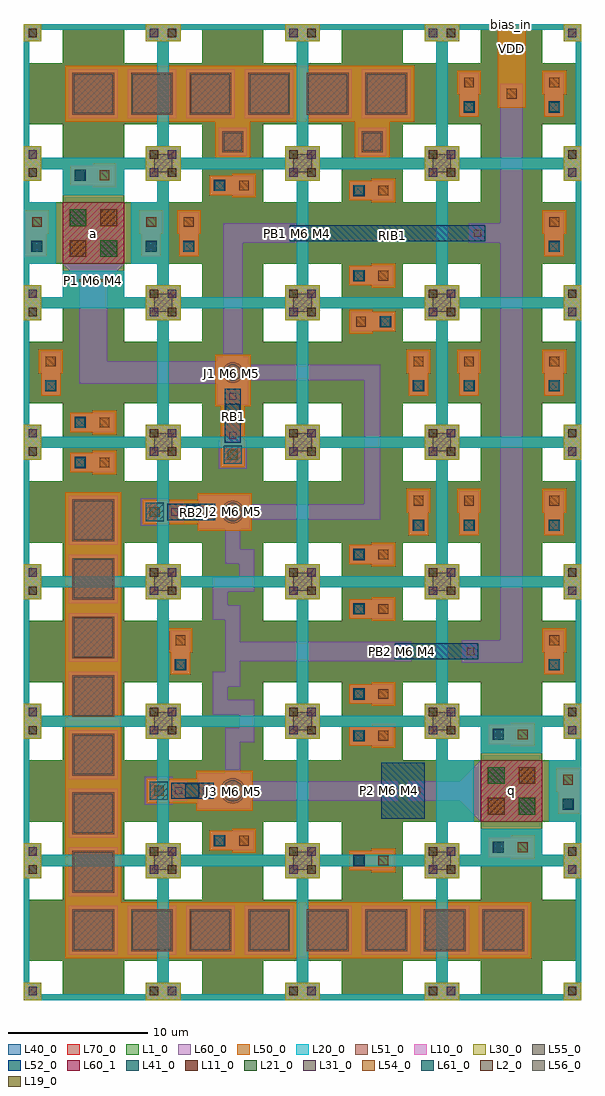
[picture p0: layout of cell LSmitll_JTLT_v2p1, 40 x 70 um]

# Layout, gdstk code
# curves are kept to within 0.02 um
from math import pi, radians
import gdstk
lib = gdstk.Library(unit=1e-6, precision=1e-09)
def R(c, l, rs):  # rectangles x0, y0, x1, y1
    for r in rs: c.add(gdstk.rectangle(r[:2], r[2:], *l))
def A(c, l, x, y, w, h, nx, ny, dx, dy):  # array of equal rectangles
    R(c, l, [(x+i*dx, y+j*dy, x+i*dx+w, y+j*dy+h) for i in range(nx) for j in range(ny)])
def P(c, l, *ps):  # polygons
    for p in ps: c.add(gdstk.Polygon(p, *l))
L1_0 = (1, 0)
L2_0 = (2, 0)
L10_0 = (10, 0)
L11_0 = (11, 0)
L19_0 = (19, 0)
L20_0 = (20, 0)
L21_0 = (21, 0)
L30_0 = (30, 0)
L31_0 = (31, 0)
L40_0 = (40, 0)
L41_0 = (41, 0)
L50_0 = (50, 0)
L51_0 = (51, 0)
L52_0 = (52, 0)
L54_0 = (54, 0)
L55_0 = (55, 0)
L56_0 = (56, 0)
L60_0 = (60, 0)
L60_1 = (60, 1)
L61_0 = (61, 0)
L70_0 = (70, 0)

ls_fakejj_1p5x1p5um = lib.new_cell('ls_FakeJJ_1p5x1p5um')
R(ls_fakejj_1p5x1p5um, L40_0, [(-1.25,-1.25,1.25,1.25)])
R(ls_fakejj_1p5x1p5um, L50_0, [(-1.25,-1.25,1.25,1.25)])
R(ls_fakejj_1p5x1p5um, L51_0, [(-0.75,-0.75,0.75,0.75)])
R(ls_fakejj_1p5x1p5um, L55_0, [(-0.65,-0.65,0.65,0.65)])
R(ls_fakejj_1p5x1p5um, L60_0, [(-1,-1,1,1)])

ls_fakejj_3x3um = lib.new_cell('ls_FakeJJ_3x3um')
R(ls_fakejj_3x3um, L40_0, [(-2,-2,2,2)])
R(ls_fakejj_3x3um, L50_0, [(-2,-2,2,2)])
R(ls_fakejj_3x3um, L51_0, [(-1.5,-1.5,1.5,1.5)])
R(ls_fakejj_3x3um, L55_0, [(-1.4,-1.4,1.4,1.4)])
R(ls_fakejj_3x3um, L60_0, [(-1.75,-1.75,1.75,1.75)])

ls_ib_112 = lib.new_cell('ls_ib_112')
R(ls_ib_112, L52_0, [(-0.575,0,0.575,14)])
R(ls_ib_112, L56_0, [(-0.26,0.29,0.26,0.81), (-0.26,13.21,0.26,13.73)])
R(ls_ib_112, L60_0, [(-0.625,-0.1,0.625,1.175), (-0.625,12.825,0.625,14.1)])

ls_conn_m5m6m7 = lib.new_cell('ls_conn_M5M6M7')
R(ls_conn_m5m6m7, L50_0, [(-0.5,-0.5,1.2,1.2)])
R(ls_conn_m5m6m7, L54_0, [(0,0,0.7,0.7)])
R(ls_conn_m5m6m7, L60_0, [(-0.65,-0.65,1.35,1.35)])
R(ls_conn_m5m6m7, L61_0, [(-0.3,-0.3,1,1)])
R(ls_conn_m5m6m7, L70_0, [(-0.65,-0.65,1.35,1.35)])

ls_jj_200_sg = lib.new_cell('ls_jj_200_sg')
R(ls_jj_200_sg, L41_0, [(-0.5,2.325,0.5,3.325)])
R(ls_jj_200_sg, L50_0, [(-1.35,-1.35,1.35,2.525), (-0.875,2.525,0.875,6.45)])
P(ls_jj_200_sg, L51_0, [(0,-0.815),(-0.315,-0.755),(-0.58,-0.575),(-0.755,-0.31),(-0.815,0),(-0.755,0.315),(-0.58,0.58),(-0.315,0.76),(0,0.82),(0.315,0.76),(0.58,0.58),(0.755,0.315),(0.815,0),(0.755,-0.31),(0.58,-0.575),(0.315,-0.755)])
R(ls_jj_200_sg, L52_0, [(-0.575,1.275,0.575,4.7)])
P(ls_jj_200_sg, L55_0, [(0,-0.67),(-0.27,-0.62),(-0.37,-0.56),(-0.57,-0.37),(-0.67,-0.13),(-0.67,0.13),(-0.57,0.37),(-0.27,0.61),(0,0.67),(0.27,0.61),(0.47,0.47),(0.57,0.37),(0.67,0.13),(0.67,-0.13),(0.57,-0.37),(0.27,-0.62)])
R(ls_jj_200_sg, L56_0, [(-0.26,1.54,0.26,2.06), (-0.26,3.91,0.26,4.43)])
R(ls_jj_200_sg, L60_0, [(-1.2,-1.2,1.2,2.425), (-0.725,3.525,0.725,6.3)])
ls_jj_200_sg.add(gdstk.Reference(ls_conn_m5m6m7, (-0.35,5.25)))

ls_tr_m7 = lib.new_cell('ls_tr_M7')
P(ls_tr_m7, L70_0, [(0,0),(0,10),(1.25,10),(1.25,8.75),(0.4,8.75),(0.4,1.25),(1.25,1.25),(1.25,0.4),(2.8,0.4),(2.8,2.8),(0.4,2.8),(0.4,7.2),(2.8,7.2),(2.8,9.6),(1.25,9.6),(1.25,10),(7.2,10),(7.2,0.4),(8.75,0.4),(8.75,1.25),(9.6,1.25),(9.6,2.8),(7.2,2.8),(7.2,7.2),(9.6,7.2),(9.6,8.75),(8.75,8.75),(8.75,9.6),(7.2,9.6),(7.2,10),(10,10),(10,0)])

ls_tr_u_m4 = lib.new_cell('ls_tr_u_M4')
P(ls_tr_u_m4, L1_0, [(0,0),(0,10),(1.25,10),(1.25,8.75),(0.4,8.75),(0.4,1.25),(1.25,1.25),(1.25,0.4),(2.8,0.4),(2.8,2.8),(0.4,2.8),(0.4,7.2),(2.8,7.2),(2.8,9.6),(1.25,9.6),(1.25,10),(7.2,10),(7.2,0.4),(8.75,0.4),(8.75,1.25),(9.6,1.25),(9.6,2.8),(7.2,2.8),(7.2,7.2),(9.6,7.2),(9.6,8.75),(8.75,8.75),(8.75,9.6),(7.2,9.6),(7.2,10),(10,10),(10,0)])
R(ls_tr_u_m4, L2_0, [(9.05,0.35,9.65,0.95), (0.35,9.05,0.95,9.65)])
R(ls_tr_u_m4, L10_0, [(0,0,1.25,1.25), (8.75,0,10,1.25), (0,8.75,1.25,10), (8.75,8.75,10,10)])
R(ls_tr_u_m4, L11_0, [(0.35,0.35,0.95,0.95), (9.05,9.05,9.65,9.65)])
P(ls_tr_u_m4, L20_0, [(0,0),(0,10),(1.25,10),(1.25,8.75),(0.4,8.75),(0.4,1.25),(1.25,1.25),(1.25,0.4),(8.75,0.4),(8.75,1.25),(9.6,1.25),(9.6,8.75),(8.75,8.75),(8.75,9.6),(1.25,9.6),(1.25,10),(10,10),(10,0)])
R(ls_tr_u_m4, L21_0, [(9.05,0.35,9.65,0.95), (0.35,9.05,0.95,9.65)])
R(ls_tr_u_m4, L30_0, [(0,0,1.25,1.25), (8.75,0,10,1.25), (0,8.75,1.25,10), (8.75,8.75,10,10)])
R(ls_tr_u_m4, L31_0, [(0.35,0.35,0.95,0.95), (9.05,9.05,9.65,9.65)])
P(ls_tr_u_m4, L40_0, [(0,0),(0,10),(1.25,10),(1.25,8.75),(0.4,8.75),(0.4,1.25),(1.25,1.25),(1.25,0.4),(2.8,0.4),(2.8,2.8),(0.4,2.8),(0.4,7.2),(2.8,7.2),(2.8,9.6),(1.25,9.6),(1.25,10),(7.2,10),(7.2,0.4),(8.75,0.4),(8.75,1.25),(9.6,1.25),(9.6,2.8),(7.2,2.8),(7.2,7.2),(9.6,7.2),(9.6,8.75),(8.75,8.75),(8.75,9.6),(7.2,9.6),(7.2,10),(10,10),(10,0)])
ls_tr_u_m4.add(gdstk.Reference(ls_tr_m7, (0,0)))

ls_conn_m4m5m6m7 = lib.new_cell('ls_conn_M4M5M6M7')
R(ls_conn_m4m5m6m7, L40_0, [(0,0,1.4,1.4)])
R(ls_conn_m4m5m6m7, L41_0, [(0.3,0.3,1.1,1.1)])
P(ls_conn_m4m5m6m7, L50_0, [(1.6,-0.15),(1.6,0),(0,0),(0,1.4),(1.6,1.4),(1.6,1.55),(3.3,1.55),(3.3,-0.15)])
R(ls_conn_m4m5m6m7, L54_0, [(2.1,0.35,2.8,1.05)])
R(ls_conn_m4m5m6m7, L60_0, [(0,0,3.15,1.4)])
R(ls_conn_m4m5m6m7, L61_0, [(0.35,0.35,1.05,1.05)])
R(ls_conn_m4m5m6m7, L70_0, [(0,0,1.4,1.4)])

ls_conn_m5m6 = lib.new_cell('ls_conn_M5M6')
R(ls_conn_m5m6, L50_0, [(0,0,1.7,1.7)])
R(ls_conn_m5m6, L54_0, [(0.5,0.5,1.2,1.2)])
R(ls_conn_m5m6, L60_0, [(0.15,0.15,1.55,1.55)])

ls_tr_ptl_conn = lib.new_cell('ls_tr_PTL_conn')
P(ls_tr_ptl_conn, L1_0, [(0,0),(0,10),(1.25,10),(1.25,8.75),(0.4,8.75),(0.4,1.25),(1.25,1.25),(1.25,0.4),(2.8,0.4),(2.8,2.8),(0.4,2.8),(0.4,7.2),(2.8,7.2),(2.8,9.6),(1.25,9.6),(1.25,10),(7.2,10),(7.2,0.4),(8.75,0.4),(8.75,1.25),(9.6,1.25),(9.6,2.8),(7.2,2.8),(7.2,7.2),(9.6,7.2),(9.6,8.75),(8.75,8.75),(8.75,9.6),(7.2,9.6),(7.2,10),(10,10),(10,0)])
R(ls_tr_ptl_conn, L2_0, [(9.05,0.35,9.65,0.95), (0.35,9.05,0.95,9.65)])
R(ls_tr_ptl_conn, L10_0, [(0,0,1.25,1.25), (8.75,0,10,1.25), (2.8,2.8,7.2,7.2), (0,8.75,1.25,10), (8.75,8.75,10,10)])
R(ls_tr_ptl_conn, L11_0, [(0.35,0.35,0.95,0.95), (3.3,3.3,4.5,4.5), (5.5,5.5,6.7,6.7), (9.05,9.05,9.65,9.65)])
R(ls_tr_ptl_conn, L20_0, [(2.8,2.8,7.2,7.2)])
P(ls_tr_ptl_conn, L20_0, [(0,0),(0,10),(7.2,10),(7.2,7.7),(2.8,7.7),(2.8,9.6),(1.25,9.6),(1.25,8.75),(0.4,8.75),(0.4,7.2),(2.3,7.2),(2.3,2.8),(0.4,2.8),(0.4,1.25),(1.25,1.25),(1.25,0.4),(2.8,0.4),(2.8,2.3),(7.2,2.3),(7.2,0.4),(8.75,0.4),(8.75,1.25),(9.6,1.25),(9.6,2.8),(7.7,2.8),(7.7,7.2),(9.6,7.2),(9.6,8.75),(8.75,8.75),(8.75,9.6),(7.2,9.6),(7.2,10),(10,10),(10,0)])
R(ls_tr_ptl_conn, L21_0, [(9.05,0.35,9.65,0.95), (5.5,3.3,6.7,4.5), (3.3,5.5,4.5,6.7), (0.35,9.05,0.95,9.65)])
R(ls_tr_ptl_conn, L30_0, [(0,0,1.25,1.25), (8.75,0,10,1.25), (2.8,2.8,7.2,7.2), (0,8.75,1.25,10), (8.75,8.75,10,10)])
R(ls_tr_ptl_conn, L31_0, [(0.35,0.35,0.95,0.95), (3.3,3.3,4.5,4.5), (5.5,5.5,6.7,6.7), (9.05,9.05,9.65,9.65)])
R(ls_tr_ptl_conn, L40_0, [(2.8,2.8,7.2,7.2)])
P(ls_tr_ptl_conn, L40_0, [(0,0),(0,10),(7.2,10),(7.2,7.7),(2.8,7.7),(2.8,9.6),(1.25,9.6),(1.25,8.75),(0.4,8.75),(0.4,7.2),(2.3,7.2),(2.3,2.8),(0.4,2.8),(0.4,1.25),(1.25,1.25),(1.25,0.4),(2.8,0.4),(2.8,2.3),(7.2,2.3),(7.2,0.4),(8.75,0.4),(8.75,1.25),(9.6,1.25),(9.6,2.8),(7.7,2.8),(7.7,7.2),(9.6,7.2),(9.6,8.75),(8.75,8.75),(8.75,9.6),(7.2,9.6),(7.2,10),(10,10),(10,0)])
R(ls_tr_ptl_conn, L41_0, [(5.5,3.3,6.7,4.5), (3.3,5.5,4.5,6.7)])
R(ls_tr_ptl_conn, L50_0, [(2.8,2.8,7.2,7.2)])
R(ls_tr_ptl_conn, L54_0, [(3.3,3.3,4.5,4.5), (5.5,5.5,6.7,6.7)])
R(ls_tr_ptl_conn, L60_0, [(2.8,2.8,7.2,7.2)])
P(ls_tr_ptl_conn, L70_0, [(0,0),(0,10),(1.25,10),(1.25,8.75),(0.4,8.75),(0.4,1.25),(1.25,1.25),(1.25,0.4),(2.8,0.4),(2.8,2.8),(0.4,2.8),(0.4,7.2),(2.8,7.2),(2.8,9.6),(1.25,9.6),(1.25,10),(7.2,10),(7.2,0.4),(8.75,0.4),(8.75,1.25),(9.6,1.25),(9.6,2.8),(7.2,2.8),(7.2,7.2),(9.6,7.2),(9.6,8.75),(8.75,8.75),(8.75,9.6),(7.2,9.6),(7.2,10),(10,10),(10,0)])

ls_jj_162_sg = lib.new_cell('ls_jj_162_sg')
R(ls_jj_162_sg, L41_0, [(-0.5,2.25,0.5,3.25)])
R(ls_jj_162_sg, L50_0, [(-1.275,-1.275,1.275,2.425), (-0.875,2.425,0.875,6.775)])
P(ls_jj_162_sg, L51_0, [(0,-0.74),(-0.285,-0.685),(-0.52,-0.525),(-0.685,-0.285),(-0.74,0),(-0.685,0.28),(-0.52,0.52),(-0.285,0.68),(0,0.735),(0.285,0.68),(0.52,0.52),(0.685,0.28),(0.74,0),(0.685,-0.285),(0.52,-0.525),(0.285,-0.685)])
R(ls_jj_162_sg, L52_0, [(-0.575,1.175,0.575,5.025)])
R(ls_jj_162_sg, L54_0, [(-0.35,5.55,0.35,6.25)])
P(ls_jj_162_sg, L55_0, [(0,-0.59),(-0.23,-0.55),(-0.42,-0.42),(-0.54,-0.23),(-0.59,0),(-0.54,0.22),(-0.42,0.43),(-0.13,0.58),(0,0.59),(0.13,0.58),(0.42,0.43),(0.54,0.22),(0.59,0),(0.54,-0.23),(0.42,-0.42),(0.23,-0.55)])
R(ls_jj_162_sg, L56_0, [(-0.26,1.44,0.26,1.96), (-0.26,4.23,0.26,4.75)])
R(ls_jj_162_sg, L60_0, [(-1.125,-1.125,1.125,2.325), (-0.725,3.85,0.725,6.625)])
ls_jj_162_sg.add(gdstk.Reference(ls_conn_m5m6m7, (-0.35,5.55)))

ls_jj_250_sg = lib.new_cell('ls_jj_250_sg')
R(ls_jj_250_sg, L41_0, [(-0.5,2.4,0.5,3.4)])
R(ls_jj_250_sg, L50_0, [(-1.425,-1.425,1.425,2.625), (-0.875,2.625,0.875,6.175)])
P(ls_jj_250_sg, L51_0, [(0,-0.91),(-0.18,-0.895),(-0.35,-0.84),(-0.645,-0.645),(-0.84,-0.35),(-0.91,0),(-0.895,0.18),(-0.84,0.35),(-0.645,0.645),(-0.35,0.84),(-0.18,0.895),(0,0.91),(0.18,0.895),(0.35,0.84),(0.645,0.645),(0.84,0.35),(0.895,0.18),(0.91,0),(0.84,-0.35),(0.645,-0.645),(0.35,-0.84),(0.18,-0.895)])
R(ls_jj_250_sg, L52_0, [(-0.575,1.35,0.575,4.425)])
R(ls_jj_250_sg, L54_0, [(-0.35,4.95,0.35,5.65)])
P(ls_jj_250_sg, L55_0, [(0,-0.76),(-0.15,-0.75),(-0.29,-0.7),(-0.54,-0.54),(-0.7,-0.29),(-0.75,-0.15),(-0.76,0),(-0.75,0.15),(-0.7,0.29),(-0.54,0.54),(-0.29,0.7),(-0.15,0.75),(0,0.76),(0.15,0.75),(0.29,0.7),(0.54,0.54),(0.7,0.29),(0.75,0.15),(0.76,0),(0.75,-0.15),(0.7,-0.29),(0.54,-0.54),(0.29,-0.7),(0.15,-0.75)])
R(ls_jj_250_sg, L56_0, [(-0.26,1.64,0.26,2.16), (-0.26,3.63,0.26,4.15)])
R(ls_jj_250_sg, L60_0, [(-1.275,-1.275,1.275,2.525), (-0.725,3.25,0.725,6.025)])
ls_jj_250_sg.add(gdstk.Reference(ls_conn_m5m6m7, (-0.35,4.95)))

ls_ib_315 = lib.new_cell('ls_ib_315')
R(ls_ib_315, L52_0, [(-0.575,0,0.575,5.975)])
R(ls_ib_315, L56_0, [(-0.26,0.29,0.26,0.81), (-0.26,5.17,0.26,5.69)])
R(ls_ib_315, L60_0, [(-0.625,-0.1,0.625,1.175), (-0.625,4.8,0.625,6.075)])

ls_res_1p36 = lib.new_cell('ls_res_1p36')
R(ls_res_1p36, L52_0, [(-2,0,2,3.1)])
R(ls_res_1p36, L56_0, [(-0.26,0.29,0.26,0.81), (-0.26,2.3,0.26,2.82)])
R(ls_res_1p36, L60_0, [(-0.625,-0.1,0.625,1.175), (-0.625,1.925,0.625,3.2)])

lsmitll_jtlt_v2p1 = lib.new_cell('LSmitll_JTLT_v2p1')
R(lsmitll_jtlt_v2p1, L19_0, [(25.93,14.74,26.45,15.26), (26.91,24.74,27.43,25.26), (19.37,54.74,19.89,55.26)])
A(lsmitll_jtlt_v2p1, L50_0, 7, 3, 0.2, 4, 7, 1, 4.2, 0)
A(lsmitll_jtlt_v2p1, L50_0, 3, 7, 4, 0.2, 1, 7, 0, 4.2)
A(lsmitll_jtlt_v2p1, L50_0, 7, 63, 0.2, 4, 5, 1, 4.2, 0)
R(lsmitll_jtlt_v2p1, L50_0, [(39.75,13.35,40,16.65), (0,53.35,0.25,56.65), (13.75,62.8,16.25,63), (23.75,62.8,26.25,63), (34,64,36,70)])
R(lsmitll_jtlt_v2p1, L60_0, [(39.75,13.35,40,16.5), (27.575,14.3,31.3,15.7), (0,53.35,0.25,56.5)])
P(lsmitll_jtlt_v2p1, L60_0, [(32.8,12.8),(31.3,14.3),(31.3,15.7),(32.8,17.2)],
  [(4.3,51.3),(2.8,52.8),(7.2,52.8),(5.7,51.3)])
R(lsmitll_jtlt_v2p1, L60_1, [(32.8,12.8,37.2,17.2), (2.8,52.8,7.2,57.2)])
lsmitll_jtlt_v2p1.add(gdstk.FlexPath([(16.275,15),(26.825,15)], 1.4, ends="flush", simple_path=True, layer=60, datatype=0))  # L60_0
lsmitll_jtlt_v2p1.add(gdstk.FlexPath([(15,25),(27.8,25)], 1.4, ends="flush", simple_path=True, layer=60, datatype=0))  # L60_0
lsmitll_jtlt_v2p1.add(gdstk.FlexPath([(15,33.8),(15,31.8),(16,31.8),(16,29.8),(14.1,29.8),(14.1,27.8),(15,27.8),(15,25)], 1.05, ends="flush", simple_path=True, layer=60, datatype=0))  # L60_0
lsmitll_jtlt_v2p1.add(gdstk.FlexPath([(25.55,35),(16.2,35)], 1.1, ends="flush", simple_path=True, layer=60, datatype=0))  # L60_0
lsmitll_jtlt_v2p1.add(gdstk.FlexPath([(25,45.55),(25,34.45)], 1.15, ends="flush", simple_path=True, layer=60, datatype=0))  # L60_0
lsmitll_jtlt_v2p1.add(gdstk.FlexPath([(16.125,45),(25.55,45)], 1.1, ends="flush", simple_path=True, layer=60, datatype=0))  # L60_0
lsmitll_jtlt_v2p1.add(gdstk.FlexPath([(31.925,55),(34.2,55)], 1.4, ends="flush", simple_path=True, layer=60, datatype=0))  # L60_0
lsmitll_jtlt_v2p1.add(gdstk.FlexPath([(35,65.7),(35,25),(31.425,25)], 1.6, ends="flush", simple_path=True, layer=60, datatype=0))  # L60_0
lsmitll_jtlt_v2p1.add(gdstk.FlexPath([(20.275,55),(15,55),(15,46.125)], 1.4, ends="flush", simple_path=True, layer=60, datatype=0))  # L60_0
lsmitll_jtlt_v2p1.add(gdstk.FlexPath([(4,45),(13.875,45)], 1.6, ends="flush", simple_path=True, layer=60, datatype=0))  # L60_0
lsmitll_jtlt_v2p1.add(gdstk.FlexPath([(5,52.8),(5,44.225)], 2, ends="flush", simple_path=True, layer=60, datatype=0))  # L60_0
lsmitll_jtlt_v2p1.add(gdstk.FlexPath([(15,25),(15,23),(14.1,23),(14.1,21),(16,21),(16,19),(15,19),(15,16.2)], 1.05, ends="flush", simple_path=True, layer=60, datatype=0))  # L60_0
lsmitll_jtlt_v2p1.add(gdstk.FlexPath([(4,51.6),(6,51.6)], 0.2, ends="flush", simple_path=True, layer=19, datatype=0))  # L19_0
lsmitll_jtlt_v2p1.add(gdstk.Reference(ls_fakejj_1p5x1p5um, (20,50)))
lsmitll_jtlt_v2p1.add(gdstk.Reference(ls_fakejj_1p5x1p5um, (20,40)))
lsmitll_jtlt_v2p1.add(gdstk.Reference(ls_fakejj_1p5x1p5um, (20,30)))
lsmitll_jtlt_v2p1.add(gdstk.Reference(ls_fakejj_1p5x1p5um, (20,20)))
lsmitll_jtlt_v2p1.add(gdstk.Reference(ls_fakejj_3x3um, (5,34.4)))
lsmitll_jtlt_v2p1.add(gdstk.Reference(ls_fakejj_1p5x1p5um, (20,10)))
lsmitll_jtlt_v2p1.add(gdstk.Reference(ls_fakejj_1p5x1p5um, (20,60)))
lsmitll_jtlt_v2p1.add(gdstk.Reference(ls_ib_112, (33.1,55), rotation=pi/2))
lsmitll_jtlt_v2p1.add(gdstk.Reference(ls_jj_200_sg, (15,35), rotation=pi/2))
lsmitll_jtlt_v2p1.add(gdstk.Reference(ls_tr_u_m4, (0,30)))
lsmitll_jtlt_v2p1.add(gdstk.Reference(ls_tr_u_m4, (10,30)))
lsmitll_jtlt_v2p1.add(gdstk.Reference(ls_tr_u_m4, (20,30)))
lsmitll_jtlt_v2p1.add(gdstk.Reference(ls_tr_u_m4, (30,30)))
lsmitll_jtlt_v2p1.add(gdstk.Reference(ls_fakejj_3x3um, (21.8,5)))
lsmitll_jtlt_v2p1.add(gdstk.Reference(ls_fakejj_3x3um, (21.8,65)))
lsmitll_jtlt_v2p1.add(gdstk.Reference(ls_conn_m4m5m6m7, (32.65,33.35), rotation=pi/2))
lsmitll_jtlt_v2p1.add(gdstk.Reference(ls_conn_m4m5m6m7, (29.025,33.35), rotation=pi/2))
lsmitll_jtlt_v2p1.add(gdstk.Reference(ls_conn_m4m5m6m7, (38.75,33.35), rotation=pi/2))
lsmitll_jtlt_v2p1.add(gdstk.Reference(ls_tr_u_m4, (20,60)))
lsmitll_jtlt_v2p1.add(gdstk.Reference(ls_tr_u_m4, (20,50)))
lsmitll_jtlt_v2p1.add(gdstk.Reference(ls_tr_u_m4, (20,40)))
lsmitll_jtlt_v2p1.add(gdstk.Reference(ls_fakejj_1p5x1p5um, (30,50)))
lsmitll_jtlt_v2p1.add(gdstk.Reference(ls_fakejj_1p5x1p5um, (30,60)))
lsmitll_jtlt_v2p1.add(gdstk.Reference(ls_tr_u_m4, (30,40)))
lsmitll_jtlt_v2p1.add(gdstk.Reference(ls_tr_u_m4, (30,50)))
lsmitll_jtlt_v2p1.add(gdstk.Reference(ls_tr_u_m4, (30,60)))
lsmitll_jtlt_v2p1.add(gdstk.Reference(ls_fakejj_1p5x1p5um, (30,40)))
lsmitll_jtlt_v2p1.add(gdstk.Reference(ls_fakejj_3x3um, (26,65)))
lsmitll_jtlt_v2p1.add(gdstk.Reference(ls_conn_m4m5m6m7, (26.65,47.95), rotation=pi, x_reflection=True))
lsmitll_jtlt_v2p1.add(gdstk.Reference(ls_conn_m4m5m6m7, (23.35,51.25)))
lsmitll_jtlt_v2p1.add(gdstk.Reference(ls_conn_m4m5m6m7, (23.35,57.35)))
lsmitll_jtlt_v2p1.add(gdstk.Reference(ls_conn_m4m5m6m7, (29.025,43.35), rotation=pi/2))
lsmitll_jtlt_v2p1.add(gdstk.Reference(ls_conn_m4m5m6m7, (32.65,43.35), rotation=pi/2))
lsmitll_jtlt_v2p1.add(gdstk.Reference(ls_conn_m4m5m6m7, (32.65,63.35), rotation=pi/2))
lsmitll_jtlt_v2p1.add(gdstk.Reference(ls_conn_m4m5m6m7, (38.75,63.35), rotation=pi/2))
lsmitll_jtlt_v2p1.add(gdstk.Reference(ls_fakejj_1p5x1p5um, (25,61.55)))
lsmitll_jtlt_v2p1.add(gdstk.Reference(ls_conn_m4m5m6m7, (38.75,43.35), rotation=pi/2))
lsmitll_jtlt_v2p1.add(gdstk.Reference(ls_conn_m4m5m6m7, (38.75,53.35), rotation=pi/2))
lsmitll_jtlt_v2p1.add(gdstk.Reference(ls_conn_m5m6, (34.15,64.15)))
lsmitll_jtlt_v2p1.add(gdstk.Reference(ls_tr_ptl_conn, (0,50)))
lsmitll_jtlt_v2p1.add(gdstk.Reference(ls_fakejj_3x3um, (9.2,65)))
lsmitll_jtlt_v2p1.add(gdstk.Reference(ls_fakejj_1p5x1p5um, (10,50)))
lsmitll_jtlt_v2p1.add(gdstk.Reference(ls_jj_162_sg, (15,45), rotation=pi))
lsmitll_jtlt_v2p1.add(gdstk.Reference(ls_fakejj_3x3um, (5,65)))
lsmitll_jtlt_v2p1.add(gdstk.Reference(ls_fakejj_3x3um, (13.4,65)))
lsmitll_jtlt_v2p1.add(gdstk.Reference(ls_tr_u_m4, (0,60)))
lsmitll_jtlt_v2p1.add(gdstk.Reference(ls_conn_m4m5m6m7, (3.35,40.725)))
lsmitll_jtlt_v2p1.add(gdstk.Reference(ls_tr_u_m4, (0,40)))
lsmitll_jtlt_v2p1.add(gdstk.Reference(ls_conn_m4m5m6m7, (3.35,37.85)))
lsmitll_jtlt_v2p1.add(gdstk.Reference(ls_conn_m4m5m6m7, (3.35,58.45)))
lsmitll_jtlt_v2p1.add(gdstk.Reference(ls_conn_m4m5m6m7, (13.35,57.725)))
lsmitll_jtlt_v2p1.add(gdstk.Reference(ls_conn_m4m5m6m7, (1.65,53.35), rotation=pi/2))
lsmitll_jtlt_v2p1.add(gdstk.Reference(ls_conn_m4m5m6m7, (2.65,43.35), rotation=pi/2))
lsmitll_jtlt_v2p1.add(gdstk.Reference(ls_tr_u_m4, (10,40)))
lsmitll_jtlt_v2p1.add(gdstk.Reference(ls_tr_u_m4, (10,50)))
lsmitll_jtlt_v2p1.add(gdstk.Reference(ls_tr_u_m4, (10,60)))
lsmitll_jtlt_v2p1.add(gdstk.Reference(ls_fakejj_1p5x1p5um, (10,40)))
lsmitll_jtlt_v2p1.add(gdstk.Reference(ls_conn_m4m5m6m7, (12.55,53.35), rotation=pi/2))
lsmitll_jtlt_v2p1.add(gdstk.Reference(ls_conn_m4m5m6m7, (9.85,53.35), rotation=pi/2))
lsmitll_jtlt_v2p1.add(gdstk.Reference(ls_fakejj_3x3um, (17.6,65)))
lsmitll_jtlt_v2p1.add(gdstk.Reference(ls_fakejj_1p5x1p5um, (10,60)))
lsmitll_jtlt_v2p1.add(gdstk.Reference(ls_fakejj_1p5x1p5um, (15,61.55)))
lsmitll_jtlt_v2p1.add(gdstk.Reference(ls_tr_u_m4, (10,0)))
lsmitll_jtlt_v2p1.add(gdstk.Reference(ls_tr_u_m4, (10,10)))
lsmitll_jtlt_v2p1.add(gdstk.Reference(ls_tr_u_m4, (10,20)))
lsmitll_jtlt_v2p1.add(gdstk.Reference(ls_fakejj_1p5x1p5um, (10,20)))
lsmitll_jtlt_v2p1.add(gdstk.Reference(ls_fakejj_3x3um, (9.2,5)))
lsmitll_jtlt_v2p1.add(gdstk.Reference(ls_fakejj_3x3um, (5,26)))
lsmitll_jtlt_v2p1.add(gdstk.Reference(ls_jj_250_sg, (15,15), rotation=pi/2))
lsmitll_jtlt_v2p1.add(gdstk.Reference(ls_fakejj_1p5x1p5um, (10,10)))
lsmitll_jtlt_v2p1.add(gdstk.Reference(ls_fakejj_3x3um, (5,9.2)))
lsmitll_jtlt_v2p1.add(gdstk.Reference(ls_conn_m4m5m6m7, (13.35,10.725)))
lsmitll_jtlt_v2p1.add(gdstk.Reference(ls_fakejj_3x3um, (5,30.2)))
lsmitll_jtlt_v2p1.add(gdstk.Reference(ls_fakejj_3x3um, (5,17.6)))
lsmitll_jtlt_v2p1.add(gdstk.Reference(ls_fakejj_1p5x1p5um, (10,30)))
lsmitll_jtlt_v2p1.add(gdstk.Reference(ls_tr_u_m4, (0,20)))
lsmitll_jtlt_v2p1.add(gdstk.Reference(ls_tr_u_m4, (0,10)))
lsmitll_jtlt_v2p1.add(gdstk.Reference(ls_tr_u_m4, (0,0)))
lsmitll_jtlt_v2p1.add(gdstk.Reference(ls_fakejj_3x3um, (5,21.8)))
lsmitll_jtlt_v2p1.add(gdstk.Reference(ls_fakejj_3x3um, (5,13.4)))
lsmitll_jtlt_v2p1.add(gdstk.Reference(ls_fakejj_3x3um, (5,5)))
lsmitll_jtlt_v2p1.add(gdstk.Reference(ls_conn_m4m5m6m7, (11.95,23.35), rotation=pi/2))
lsmitll_jtlt_v2p1.add(gdstk.Reference(ls_fakejj_3x3um, (13.4,5)))
lsmitll_jtlt_v2p1.add(gdstk.Reference(ls_fakejj_3x3um, (17.6,5)))
lsmitll_jtlt_v2p1.add(gdstk.Reference(ls_conn_m4m5m6m7, (23.35,9.3)))
lsmitll_jtlt_v2p1.add(gdstk.Reference(ls_conn_m4m5m6m7, (33.35,10.25)))
lsmitll_jtlt_v2p1.add(gdstk.Reference(ls_conn_m4m5m6m7, (33.35,18.35)))
lsmitll_jtlt_v2p1.add(gdstk.Reference(ls_fakejj_1p5x1p5um, (30,20)))
lsmitll_jtlt_v2p1.add(gdstk.Reference(ls_ib_315, (32.6,25), rotation=pi/2))
lsmitll_jtlt_v2p1.add(gdstk.Reference(ls_fakejj_1p5x1p5um, (30,30)))
lsmitll_jtlt_v2p1.add(gdstk.Reference(ls_tr_ptl_conn, (30,10)))
lsmitll_jtlt_v2p1.add(gdstk.Reference(ls_fakejj_3x3um, (34.4,5)))
lsmitll_jtlt_v2p1.add(gdstk.Reference(ls_fakejj_3x3um, (30.2,5)))
lsmitll_jtlt_v2p1.add(gdstk.Reference(ls_fakejj_3x3um, (26,5)))
lsmitll_jtlt_v2p1.add(gdstk.Reference(ls_fakejj_1p5x1p5um, (30,10)))
lsmitll_jtlt_v2p1.add(gdstk.Reference(ls_tr_u_m4, (20,20)))
lsmitll_jtlt_v2p1.add(gdstk.Reference(ls_tr_u_m4, (20,10)))
lsmitll_jtlt_v2p1.add(gdstk.Reference(ls_tr_u_m4, (20,0)))
lsmitll_jtlt_v2p1.add(gdstk.Reference(ls_tr_u_m4, (30,0)))
lsmitll_jtlt_v2p1.add(gdstk.Reference(ls_conn_m4m5m6m7, (38.75,23.35), rotation=pi/2))
lsmitll_jtlt_v2p1.add(gdstk.Reference(ls_tr_u_m4, (30,20)))
lsmitll_jtlt_v2p1.add(gdstk.Reference(ls_res_1p36, (28.75,15), rotation=pi/2))
lsmitll_jtlt_v2p1.add(gdstk.Reference(ls_conn_m4m5m6m7, (23.35,31.25)))
lsmitll_jtlt_v2p1.add(gdstk.Reference(ls_conn_m4m5m6m7, (39.75,13.35), rotation=pi/2))
lsmitll_jtlt_v2p1.add(gdstk.Reference(ls_conn_m4m5m6m7, (23.35,18.25)))
lsmitll_jtlt_v2p1.add(gdstk.Reference(ls_conn_m4m5m6m7, (23.35,27.35)))
lsmitll_jtlt_v2p1.add(gdstk.Reference(ls_conn_m4m5m6m7, (23.35,21.25)))
lsmitll_jtlt_v2p1.add(gdstk.Label('P2 M6 M4', (26.235,15.005), layer=182, texttype=0))
lsmitll_jtlt_v2p1.add(gdstk.Label('J3 M6 M5', (15.025,14.975), layer=182, texttype=0))
lsmitll_jtlt_v2p1.add(gdstk.Label('PB2 M6 M4', (27.165,25.025), layer=182, texttype=0))
lsmitll_jtlt_v2p1.add(gdstk.Label('J2 M6 M5', (15.075,35.025), layer=182, texttype=0))
lsmitll_jtlt_v2p1.add(gdstk.Label('J1 M6 M5', (14.925,44.925), layer=182, texttype=0))
lsmitll_jtlt_v2p1.add(gdstk.Label('PB1 M6 M4', (19.615,55.005), layer=182, texttype=0))
lsmitll_jtlt_v2p1.add(gdstk.Label('P1 M6 M4', (5,51.6), layer=182, texttype=0))
lsmitll_jtlt_v2p1.add(gdstk.Label('a', (5,55), layer=182, texttype=0))
lsmitll_jtlt_v2p1.add(gdstk.Label('q', (35,15), layer=182, texttype=0))
lsmitll_jtlt_v2p1.add(gdstk.Label('bias_in', (35,70), layer=182, texttype=0))
lsmitll_jtlt_v2p1.add(gdstk.Label('VDD', (35.023,68.261), layer=50, texttype=1))
lsmitll_jtlt_v2p1.add(gdstk.Label('GND', (36.312,68.403), layer=40, texttype=1))
lsmitll_jtlt_v2p1.add(gdstk.Label('RIB1', (26.465,54.861), layer=52, texttype=1))
lsmitll_jtlt_v2p1.add(gdstk.Label('RIB2', (29.859,25.03), layer=52, texttype=1))
lsmitll_jtlt_v2p1.add(gdstk.Label('RD', (27.298,15.045), layer=52, texttype=1))
lsmitll_jtlt_v2p1.add(gdstk.Label('RB1', (15.045,41.879), layer=52, texttype=1))
lsmitll_jtlt_v2p1.add(gdstk.Label('RB2', (12.004,34.995), layer=52, texttype=1))
lsmitll_jtlt_v2p1.add(gdstk.Label('RB3', (12.038,14.977), layer=52, texttype=1))
lsmitll_jtlt_v2p1.add(gdstk.Label('a', (5.007,55.058), layer=60, texttype=1))
lsmitll_jtlt_v2p1.add(gdstk.Label('q', (35.024,15.016), layer=60, texttype=1))

lib.write_gds('LSmitll_JTLT_v2p1.gds')
